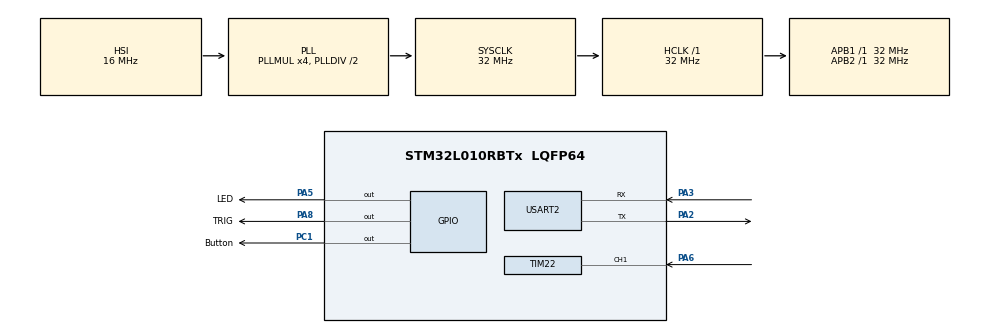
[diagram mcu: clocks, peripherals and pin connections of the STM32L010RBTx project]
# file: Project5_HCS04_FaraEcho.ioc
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Mcu.Family=STM32L0
Mcu.Name=STM32L010RBTx
Mcu.Package=LQFP64
NVIC.TIM22_IRQn=true\:0\:0\:false\:false\:true\:true\:true
PA2.Mode=Asynchronous
PA2.Signal=USART2_TX
PA3.Mode=Asynchronous
PA3.Signal=USART2_RX
PA5.GPIO_Label=LED
PA5.Signal=GPIO_Output
PA6.Signal=S_TIM22_CH1
PA8.GPIO_Label=TRIG
PA8.Signal=GPIO_Output
PC1.GPIO_Label=Button
PC1.Signal=GPIO_Output
ProjectManager.HeapSize=0x200
ProjectManager.StackSize=0x400
ProjectManager.TargetToolchain=EWARM V8.32
RCC.AHBFreq_Value=32000000
RCC.APB1Freq_Value=32000000
RCC.APB1TimFreq_Value=32000000
RCC.APB2Freq_Value=32000000
RCC.APB2TimFreq_Value=32000000
RCC.HCLKFreq_Value=32000000
RCC.HSE_VALUE=8000000
RCC.HSI16_VALUE=16000000
RCC.HSI48_VALUE=48000000
RCC.HSI_VALUE=16000000
RCC.LSEState=RCC_LSE_ON
RCC.LSE_VALUE=32768
RCC.MSI_VALUE=2097000
RCC.PLLMUL=RCC_PLLMUL_4
RCC.SYSCLKFreq_VALUE=32000000
RCC.SYSCLKSource=RCC_SYSCLKSOURCE_PLLCLK
RCC.VCOOutputFreq_Value=64000000
SH.S_TIM22_CH1.0=TIM22_CH1,Input_Capture1_from_TI1
TIM2.Period=0
TIM2.Prescaler=32-1
TIM22.Channel-Input_Capture1_from_TI1=TIM_CHANNEL_1
TIM22.ICFilter_CH1=4
TIM22.ICPolarity_CH1=TIM_INPUTCHANNELPOLARITY_BOTHEDGE
TIM22.Prescaler=32-1
USART2.VirtualMode-Asynchronous=VM_ASYNC
VP_TIM22_VS_ClockSourceINT.Mode=Internal
VP_TIM2_VS_ClockSourceINT.Mode=Internal
board=NUCLEO-L010RB

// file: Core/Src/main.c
/* USER CODE BEGIN Header */
/**
  ******************************************************************************
  * @file           : main.c
  * @brief          : Main program body
  ******************************************************************************
  * @attention
  *
  * <h2><center>&copy; Copyright (c) 2021 STMicroelectronics.
  * All rights reserved.</center></h2>
  *
  * This software component is licensed by ST under BSD 3-Clause license,
  * the "License"; You may not use this file except in compliance with the
  * License. You may obtain a copy of the License at:
  *                        opensource.org/licenses/BSD-3-Clause
  *
  ******************************************************************************
  */
/* USER CODE END Header */
#include "main.h"

/* USER CODE BEGIN Includes */
#include <string.h>
#include <stdio.h>
/* USER CODE END Includes */

/* USER CODE BEGIN PTD */
#define usTIM TIM2
/* USER CODE END PTD */

TIM_HandleTypeDef htim2;
TIM_HandleTypeDef htim22;

UART_HandleTypeDef huart2;

void SystemClock_Config(void);
static void MX_GPIO_Init(void);
static void MX_TIM2_Init(void);
static void MX_USART2_UART_Init(void);
static void MX_TIM22_Init(void);
/* USER CODE BEGIN PFP */
void usDelay(uint32_t uSec);
/* USER CODE END PFP */

/* USER CODE BEGIN 0 */
uint8_t icFlag = 0;
uint8_t captureIdx=0;
uint32_t edge1Time=0, edge2Time=0;

const float speedOfSound = 0.0343/2;
float distance;

char uartBuf[100];
/* USER CODE END 0 */

int main(void)
{

  /* MCU Configuration--------------------------------------------------------*/

  /* Reset of all peripherals, Initializes the Flash interface and the Systick. */
  HAL_Init();

  /* Configure the system clock */
  SystemClock_Config();

  /* Initialize all configured peripherals */
  MX_GPIO_Init();
  MX_TIM2_Init();
  MX_USART2_UART_Init();
  MX_TIM22_Init();

  /* Infinite loop */
  while (1)
  {

    /* USER CODE BEGIN 3 */
    //Set TRIG to LOW for few uSec
		HAL_GPIO_WritePin(TRIG_GPIO_Port, TRIG_Pin, GPIO_PIN_RESET);
		usDelay(3);

		//*** START Ultrasonic measure routine ***//
		//1. Output 10 usec TRIG
		HAL_GPIO_WritePin(TRIG_GPIO_Port, TRIG_Pin, GPIO_PIN_SET);
		usDelay(10);
		HAL_GPIO_WritePin(TRIG_GPIO_Port, TRIG_Pin, GPIO_PIN_RESET);

                //2. ECHO signal pulse width
                //Start IC timer
		HAL_TIM_IC_Start_IT(&htim22, TIM_CHANNEL_1);
		//Wait for IC flag
		uint32_t startTick = HAL_GetTick();
		do
		{
			if(icFlag) break;
		}while((HAL_GetTick() - startTick) < 500);  //500ms
		icFlag = 0;
		HAL_TIM_IC_Stop_IT(&htim22, TIM_CHANNEL_1);

		//Calculate distance in cm
		if(edge2Time > edge1Time)
		{
			distance = ((edge2Time - edge1Time) + 0.0f)*speedOfSound;
		}
		else
		{
			distance = 0.0f;
		}

		//Print to UART terminal for debugging
		sprintf(uartBuf, "Distance (cm)  = %.1f\r\n", distance);
		HAL_UART_Transmit(&huart2, (uint8_t *)uartBuf, strlen(uartBuf), 100);

		HAL_Delay(1000);

  }
  /* USER CODE END 3 */
}

void SystemClock_Config(void)
{
  RCC_OscInitTypeDef RCC_OscInitStruct = {0};
  RCC_ClkInitTypeDef RCC_ClkInitStruct = {0};
  RCC_PeriphCLKInitTypeDef PeriphClkInit = {0};

  /** Configure the main internal regulator output voltage
  */
  __HAL_PWR_VOLTAGESCALING_CONFIG(PWR_REGULATOR_VOLTAGE_SCALE1);
  /** Initializes the RCC Oscillators according to the specified parameters
  * in the RCC_OscInitTypeDef structure.
  */
  RCC_OscInitStruct.OscillatorType = RCC_OSCILLATORTYPE_HSI;
  RCC_OscInitStruct.HSIState = RCC_HSI_ON;
  RCC_OscInitStruct.HSICalibrationValue = RCC_HSICALIBRATION_DEFAULT;
  RCC_OscInitStruct.PLL.PLLState = RCC_PLL_ON;
  RCC_OscInitStruct.PLL.PLLSource = RCC_PLLSOURCE_HSI;
  RCC_OscInitStruct.PLL.PLLMUL = RCC_PLLMUL_4;
  RCC_OscInitStruct.PLL.PLLDIV = RCC_PLLDIV_2;
  if (HAL_RCC_OscConfig(&RCC_OscInitStruct) != HAL_OK)
  {
    Error_Handler();
  }
  /** Initializes the CPU, AHB and APB buses clocks
  */
  RCC_ClkInitStruct.ClockType = RCC_CLOCKTYPE_HCLK|RCC_CLOCKTYPE_SYSCLK
                              |RCC_CLOCKTYPE_PCLK1|RCC_CLOCKTYPE_PCLK2;
  RCC_ClkInitStruct.SYSCLKSource = RCC_SYSCLKSOURCE_PLLCLK;
  RCC_ClkInitStruct.AHBCLKDivider = RCC_SYSCLK_DIV1;
  RCC_ClkInitStruct.APB1CLKDivider = RCC_HCLK_DIV1;
  RCC_ClkInitStruct.APB2CLKDivider = RCC_HCLK_DIV1;

  if (HAL_RCC_ClockConfig(&RCC_ClkInitStruct, FLASH_LATENCY_1) != HAL_OK)
  {
    Error_Handler();
  }
  PeriphClkInit.PeriphClockSelection = RCC_PERIPHCLK_USART2;
  PeriphClkInit.Usart2ClockSelection = RCC_USART2CLKSOURCE_PCLK1;
  if (HAL_RCCEx_PeriphCLKConfig(&PeriphClkInit) != HAL_OK)
  {
    Error_Handler();
  }
}

static void MX_TIM2_Init(void)
{

  TIM_ClockConfigTypeDef sClockSourceConfig = {0};
  TIM_MasterConfigTypeDef sMasterConfig = {0};

  htim2.Instance = TIM2;
  htim2.Init.Prescaler = 32-1;
  htim2.Init.CounterMode = TIM_COUNTERMODE_UP;
  htim2.Init.Period = 0;
  htim2.Init.ClockDivision = TIM_CLOCKDIVISION_DIV1;
  htim2.Init.AutoReloadPreload = TIM_AUTORELOAD_PRELOAD_DISABLE;
  if (HAL_TIM_Base_Init(&htim2) != HAL_OK)
  {
    Error_Handler();
  }
  sClockSourceConfig.ClockSource = TIM_CLOCKSOURCE_INTERNAL;
  if (HAL_TIM_ConfigClockSource(&htim2, &sClockSourceConfig) != HAL_OK)
  {
    Error_Handler();
  }
  sMasterConfig.MasterOutputTrigger = TIM_TRGO_RESET;
  sMasterConfig.MasterSlaveMode = TIM_MASTERSLAVEMODE_DISABLE;
  if (HAL_TIMEx_MasterConfigSynchronization(&htim2, &sMasterConfig) != HAL_OK)
  {
    Error_Handler();
  }

}

static void MX_TIM22_Init(void)
{

  TIM_ClockConfigTypeDef sClockSourceConfig = {0};
  TIM_MasterConfigTypeDef sMasterConfig = {0};
  TIM_IC_InitTypeDef sConfigIC = {0};

  htim22.Instance = TIM22;
  htim22.Init.Prescaler = 32-1;
  htim22.Init.CounterMode = TIM_COUNTERMODE_UP;
  htim22.Init.Period = 65535;
  htim22.Init.ClockDivision = TIM_CLOCKDIVISION_DIV1;
  htim22.Init.AutoReloadPreload = TIM_AUTORELOAD_PRELOAD_DISABLE;
  if (HAL_TIM_Base_Init(&htim22) != HAL_OK)
  {
    Error_Handler();
  }
  sClockSourceConfig.ClockSource = TIM_CLOCKSOURCE_INTERNAL;
  if (HAL_TIM_ConfigClockSource(&htim22, &sClockSourceConfig) != HAL_OK)
  {
    Error_Handler();
  }
  if (HAL_TIM_IC_Init(&htim22) != HAL_OK)
  {
    Error_Handler();
  }
  sMasterConfig.MasterOutputTrigger = TIM_TRGO_RESET;
  sMasterConfig.MasterSlaveMode = TIM_MASTERSLAVEMODE_DISABLE;
  if (HAL_TIMEx_MasterConfigSynchronization(&htim22, &sMasterConfig) != HAL_OK)
  {
    Error_Handler();
  }
  sConfigIC.ICPolarity = TIM_INPUTCHANNELPOLARITY_BOTHEDGE;
  sConfigIC.ICSelection = TIM_ICSELECTION_DIRECTTI;
  sConfigIC.ICPrescaler = TIM_ICPSC_DIV1;
  sConfigIC.ICFilter = 4;
  if (HAL_TIM_IC_ConfigChannel(&htim22, &sConfigIC, TIM_CHANNEL_1) != HAL_OK)
  {
    Error_Handler();
  }

}

static void MX_USART2_UART_Init(void)
{

  huart2.Instance = USART2;
  huart2.Init.BaudRate = 115200;
  huart2.Init.WordLength = UART_WORDLENGTH_8B;
  huart2.Init.StopBits = UART_STOPBITS_1;
  huart2.Init.Parity = UART_PARITY_NONE;
  huart2.Init.Mode = UART_MODE_TX_RX;
  huart2.Init.HwFlowCtl = UART_HWCONTROL_NONE;
  huart2.Init.OverSampling = UART_OVERSAMPLING_16;
  huart2.Init.OneBitSampling = UART_ONE_BIT_SAMPLE_DISABLE;
  huart2.AdvancedInit.AdvFeatureInit = UART_ADVFEATURE_NO_INIT;
  if (HAL_UART_Init(&huart2) != HAL_OK)
  {
    Error_Handler();
  }

}

static void MX_GPIO_Init(void)
{
  GPIO_InitTypeDef GPIO_InitStruct = {0};

  /* GPIO Ports Clock Enable */
  __HAL_RCC_GPIOC_CLK_ENABLE();
  __HAL_RCC_GPIOA_CLK_ENABLE();

  /*Configure GPIO pin Output Level */
  HAL_GPIO_WritePin(Button_GPIO_Port, Button_Pin, GPIO_PIN_RESET);

  /*Configure GPIO pin Output Level */
  HAL_GPIO_WritePin(GPIOA, LED_Pin|TRIG_Pin, GPIO_PIN_RESET);

  /*Configure GPIO pin : Button_Pin */
  GPIO_InitStruct.Pin = Button_Pin;
  GPIO_InitStruct.Mode = GPIO_MODE_OUTPUT_PP;
  GPIO_InitStruct.Pull = GPIO_NOPULL;
  GPIO_InitStruct.Speed = GPIO_SPEED_FREQ_LOW;
  HAL_GPIO_Init(Button_GPIO_Port, &GPIO_InitStruct);

  /*Configure GPIO pins : LED_Pin TRIG_Pin */
  GPIO_InitStruct.Pin = LED_Pin|TRIG_Pin;
  GPIO_InitStruct.Mode = GPIO_MODE_OUTPUT_PP;
  GPIO_InitStruct.Pull = GPIO_NOPULL;
  GPIO_InitStruct.Speed = GPIO_SPEED_FREQ_LOW;
  HAL_GPIO_Init(GPIOA, &GPIO_InitStruct);

}

/* USER CODE BEGIN 4 */
void usDelay(uint32_t uSec)
{
	if(uSec < 2) uSec = 2;
	usTIM->ARR = uSec - 1; 	/*sets the value in the auto-reload register*/
	usTIM->EGR = 1; 			/*Re-initialises the timer*/
	usTIM->SR &= ~1; 		//Resets the flag
	usTIM->CR1 |= 1; 		//Enables the counter
	while((usTIM->SR&0x0001) != 1);
	usTIM->SR &= ~(0x0001);
}
/* USER CODE END 4 */

void Error_Handler(void)
{
  __disable_irq();
  while (1)
  {
  }
}

/************************ (C) COPYRIGHT STMicroelectronics *****END OF FILE****/
